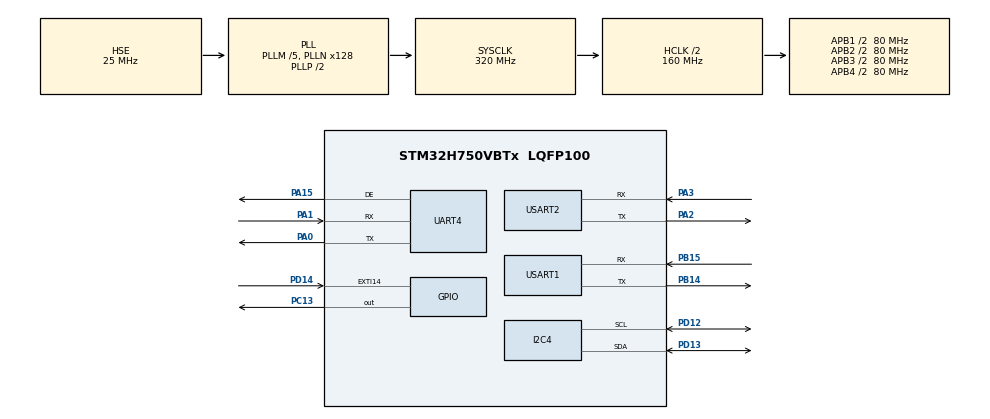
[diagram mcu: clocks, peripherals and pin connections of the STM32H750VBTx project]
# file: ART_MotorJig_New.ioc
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I2C4.Timing=0x10909CEC
Mcu.Family=STM32H7
Mcu.Name=STM32H750VBTx
Mcu.Package=LQFP100
NVIC.EXTI15_10_IRQn=true\:0\:0\:false\:false\:true\:true\:true
NVIC.PriorityGroup=NVIC_PRIORITYGROUP_4
NVIC.TIM7_IRQn=true\:0\:0\:false\:false\:true\:false\:true
NVIC.TimeBase=TIM7_IRQn
NVIC.TimeBaseIP=TIM7
NVIC.UART4_IRQn=true\:0\:0\:false\:false\:true\:true\:true
NVIC.USART1_IRQn=true\:0\:0\:false\:false\:true\:true\:true
NVIC.USART2_IRQn=true\:0\:0\:false\:false\:true\:true\:true
PA0.Mode=Asynchronous
PA0.Signal=UART4_TX
PA1.Mode=Asynchronous
PA1.Signal=UART4_RX
PA13\ (JTMS/SWDIO).Mode=Serial_Wire
PA13\ (JTMS/SWDIO).Signal=DEBUG_JTMS-SWDIO
PA14\ (JTCK/SWCLK).Mode=Serial_Wire
PA14\ (JTCK/SWCLK).Signal=DEBUG_JTCK-SWCLK
PA15\ (JTDI).Mode=Hardware Flow Control (RS485)
PA15\ (JTDI).Signal=UART4_DE
PA2.Mode=Asynchronous
PA2.Signal=USART2_TX
PA3.Mode=Asynchronous
PA3.Signal=USART2_RX
PB14.Mode=Asynchronous
PB14.Signal=USART1_TX
PB15.Mode=Asynchronous
PB15.Signal=USART1_RX
PC13.PinState=GPIO_PIN_RESET
PC13.Signal=GPIO_Output
PC14-OSC32_IN\ (OSC32_IN).Mode=LSE-External-Oscillator
PC14-OSC32_IN\ (OSC32_IN).Signal=RCC_OSC32_IN
PC15-OSC32_OUT\ (OSC32_OUT).Mode=LSE-External-Oscillator
PC15-OSC32_OUT\ (OSC32_OUT).Signal=RCC_OSC32_OUT
PD12.Mode=I2C
PD12.Signal=I2C4_SCL
PD13.Mode=I2C
PD13.Signal=I2C4_SDA
PD14.GPIO_ModeDefaultEXTI=GPIO_MODE_IT_FALLING
PD14.GPIO_PuPd=GPIO_PULLUP
PD14.Signal=GPXTI14
PH0-OSC_IN\ (PH0).Mode=HSE-External-Oscillator
PH0-OSC_IN\ (PH0).Signal=RCC_OSC_IN
PH1-OSC_OUT\ (PH1).Mode=HSE-External-Oscillator
PH1-OSC_OUT\ (PH1).Signal=RCC_OSC_OUT
ProjectManager.HeapSize=0x1200
ProjectManager.StackSize=0x1400
ProjectManager.TargetToolchain=STM32CubeIDE
RCC.ADCFreq_Value=50390625
RCC.APB1Freq_Value=80000000
RCC.APB2Freq_Value=80000000
RCC.APB3Freq_Value=80000000
RCC.APB4Freq_Value=80000000
RCC.CortexFreq_Value=320000000
RCC.D1PPRE=RCC_APB3_DIV2
RCC.D2PPRE1=RCC_APB1_DIV2
RCC.D2PPRE2=RCC_APB2_DIV2
RCC.D3PPRE=RCC_APB4_DIV2
RCC.DIVM1=5
RCC.DIVN1=128
RCC.HCLKFreq_Value=160000000
RCC.HPRE=RCC_HCLK_DIV2
RCC.PLL2FRACN=0
RCC.PLL3FRACN=0
RCC.PLLFRACN=0
RCC.PLLSourceVirtual=RCC_PLLSOURCE_HSE
RCC.SYSCLKFreq_VALUE=320000000
RCC.SYSCLKSource=RCC_SYSCLKSOURCE_PLLCLK
RCC.USBFreq_Value=320000000
USART1.VirtualMode-Asynchronous=VM_ASYNC
USART2.VirtualMode-Asynchronous=VM_ASYNC
VP_SYS_VS_tim7.Mode=TIM7
board=custom

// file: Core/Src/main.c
/* USER CODE BEGIN Header */
/**
  ******************************************************************************
  * @file           : main.c
  * @brief          : Main program body
  ******************************************************************************
  * @attention
  *
  * <h2><center>&copy; Copyright (c) 2021 STMicroelectronics.
  * All rights reserved.</center></h2>
  *
  * This software component is licensed by ST under BSD 3-Clause license,
  * the "License"; You may not use this file except in compliance with the
  * License. You may obtain a copy of the License at:
  *                        opensource.org/licenses/BSD-3-Clause
  *
  ******************************************************************************
  */
/* USER CODE END Header */
#include "main.h"

/* USER CODE BEGIN Includes */
#include "common.h"
#include "comm.h"
#include "modbus.h"
#include "EziStep.h"
#include "Vl53l1x.h"
#include "tmr.h"
/* USER CODE END Includes */

I2C_HandleTypeDef hi2c4;

UART_HandleTypeDef huart4;
UART_HandleTypeDef huart1;
UART_HandleTypeDef huart2;

void SystemClock_Config(void);
static void MX_GPIO_Init(void);
static void MX_UART4_Init(void);
static void MX_USART2_UART_Init(void);
static void MX_I2C4_Init(void);
static void MX_USART1_UART_Init(void);

/* USER CODE BEGIN 0 */
uint8_t Rx4Data;
uint8_t Rx2Data;

void HAL_UART_RxCpltCallback(UART_HandleTypeDef *huart)
{
	if(huart->Instance == USART2)
	{
		CommPutRxChar(&RingBuf_Modbus, Rx2Data);
		HAL_UART_Receive_IT(&huart2, &Rx2Data, sizeof(Rx2Data));
	}

	else if(huart->Instance == UART4)
	{
		CommPutRxChar(&RingBuf_EziStep, Rx4Data);
		HAL_UART_Receive_IT(&huart4, &Rx4Data, sizeof(Rx4Data));
	}

}

volatile int IntCount;
#define isInterrupt 1 /* If isInterrupt = 1 then device working in interrupt mode, else device working in polling mode */
void HAL_GPIO_EXTI_Callback(uint16_t GPIO_Pin)
{
		if (GPIO_Pin == GPIO_PIN_14)
		{
			IntCount++;

		}
}
/* USER CODE END 0 */

int main(void)
{
  /* USER CODE BEGIN 1 */
	uint8_t data_Modbus;
	uint8_t data_EziStep;

	//address, func, .....  hard coding for test
	uint8_t buf[] = { 0x01, 0x03, 0x4, 0x00, 0x03, 0x00, 0x04, 0xFF, 0xFF };
	uint8_t buf2[] = { 0xaa, 0xcc, 0x01, 0x01, 0x00, 0x14, 0x00 ,0x00, 0xaa, 0xee};

	uint16_t crc16_Modbus;
	uint16_t crc16_EziStep;

  /* USER CODE END 1 */

  /* MCU Configuration--------------------------------------------------------*/

  /* Reset of all peripherals, Initializes the Flash interface and the Systick. */
  HAL_Init();

  /* Configure the system clock */
  SystemClock_Config();

  /* Initialize all configured peripherals */
  MX_GPIO_Init();
  MX_UART4_Init();
  MX_USART2_UART_Init();
  MX_I2C4_Init();
  MX_USART1_UART_Init();
  /* USER CODE BEGIN 2 */
  CommInit(&RingBuf_Modbus);
  CommInit(&RingBuf_EziStep);

  ModbusInit(&Modbus, 0x01);
  EziStepInit(&EziStep,0x01);
  //VL53L1XInit();

  HAL_UART_Receive_IT(&huart2, &Rx2Data, sizeof(Rx2Data));
  HAL_UART_Receive_IT(&huart4, &Rx4Data, sizeof(Rx4Data));
  /* USER CODE END 2 */

  /* Infinite loop */
  /* USER CODE BEGIN WHILE */
  while (1)
  {
	  //VL53L1XProcessData();

	  if ( CommIsEmpty(&RingBuf_Modbus) == FALSE )
	  {
		  data_Modbus = CommGetRxChar(&RingBuf_Modbus);
		  //HAL_UART_Transmit(&huart4, &data, sizeof(data), 0xFFFFFFFF);
		  ModbusProcessData(&Modbus, data_Modbus);
	  }

	  if ( CommIsEmpty(&RingBuf_EziStep) == FALSE )
	  {
		  data_EziStep = CommGetRxChar(&RingBuf_EziStep);
		  //HAL_UART_Transmit(&huart4, &data, sizeof(data), 0xFFFFFFFF);
		  EziStepProcessData(&EziStep, data_EziStep);
	  }

	  if( Modbus.done == TRUE )
	  {
		  Modbus.done = FALSE;

		  crc16_Modbus = ModbusCrc16 (buf, 7);
		  buf[7] = (uint8_t)crc16_Modbus;
		  buf[8] = (uint8_t)(crc16_Modbus >> 8);
		  HAL_UART_Transmit(&huart2, buf, sizeof(buf), 0xFFFFFFFF);
//		  switch( Modbus.function ){
//		  case 0:
//		  case 1:
//		  case 2:
//		  }
	  }

	  if( EziStep.done == TRUE )
	  {
		  EziStep.done = FALSE;

		  crc16_EziStep = EziStepCalCRC16(&buf2[2], 4);
		  buf2[6]  = (uint8_t)crc16_EziStep;
		  buf2[7] = (uint8_t)(crc16_EziStep >> 8);
		  HAL_UART_Transmit(&huart4, buf2, sizeof(buf2), 0xFFFFFFFF);
//		  switch( Modbus.function ){
//		  case 0:
//		  case 1:
//		  case 2:
//		  }
	  }

    /* USER CODE END WHILE */

  }
}

void SystemClock_Config(void)
{
  RCC_OscInitTypeDef RCC_OscInitStruct = {0};
  RCC_ClkInitTypeDef RCC_ClkInitStruct = {0};
  RCC_PeriphCLKInitTypeDef PeriphClkInitStruct = {0};

  /** Supply configuration update enable
  */
  HAL_PWREx_ConfigSupply(PWR_LDO_SUPPLY);
  /** Configure the main internal regulator output voltage
  */
  __HAL_PWR_VOLTAGESCALING_CONFIG(PWR_REGULATOR_VOLTAGE_SCALE1);

  while(!__HAL_PWR_GET_FLAG(PWR_FLAG_VOSRDY)) {}
  /** Initializes the RCC Oscillators according to the specified parameters
  * in the RCC_OscInitTypeDef structure.
  */
  RCC_OscInitStruct.OscillatorType = RCC_OSCILLATORTYPE_HSE;
  RCC_OscInitStruct.HSEState = RCC_HSE_ON;
  RCC_OscInitStruct.PLL.PLLState = RCC_PLL_ON;
  RCC_OscInitStruct.PLL.PLLSource = RCC_PLLSOURCE_HSE;
  RCC_OscInitStruct.PLL.PLLM = 5;
  RCC_OscInitStruct.PLL.PLLN = 128;
  RCC_OscInitStruct.PLL.PLLP = 2;
  RCC_OscInitStruct.PLL.PLLQ = 2;
  RCC_OscInitStruct.PLL.PLLR = 2;
  RCC_OscInitStruct.PLL.PLLRGE = RCC_PLL1VCIRANGE_2;
  RCC_OscInitStruct.PLL.PLLVCOSEL = RCC_PLL1VCOWIDE;
  RCC_OscInitStruct.PLL.PLLFRACN = 0;
  if (HAL_RCC_OscConfig(&RCC_OscInitStruct) != HAL_OK)
  {
    Error_Handler();
  }
  /** Initializes the CPU, AHB and APB buses clocks
  */
  RCC_ClkInitStruct.ClockType = RCC_CLOCKTYPE_HCLK|RCC_CLOCKTYPE_SYSCLK
                              |RCC_CLOCKTYPE_PCLK1|RCC_CLOCKTYPE_PCLK2
                              |RCC_CLOCKTYPE_D3PCLK1|RCC_CLOCKTYPE_D1PCLK1;
  RCC_ClkInitStruct.SYSCLKSource = RCC_SYSCLKSOURCE_PLLCLK;
  RCC_ClkInitStruct.SYSCLKDivider = RCC_SYSCLK_DIV1;
  RCC_ClkInitStruct.AHBCLKDivider = RCC_HCLK_DIV2;
  RCC_ClkInitStruct.APB3CLKDivider = RCC_APB3_DIV2;
  RCC_ClkInitStruct.APB1CLKDivider = RCC_APB1_DIV2;
  RCC_ClkInitStruct.APB2CLKDivider = RCC_APB2_DIV2;
  RCC_ClkInitStruct.APB4CLKDivider = RCC_APB4_DIV2;

  if (HAL_RCC_ClockConfig(&RCC_ClkInitStruct, FLASH_LATENCY_2) != HAL_OK)
  {
    Error_Handler();
  }
  PeriphClkInitStruct.PeriphClockSelection = RCC_PERIPHCLK_USART2|RCC_PERIPHCLK_UART4
                              |RCC_PERIPHCLK_USART1|RCC_PERIPHCLK_I2C4;
  PeriphClkInitStruct.Usart234578ClockSelection = RCC_USART234578CLKSOURCE_D2PCLK1;
  PeriphClkInitStruct.Usart16ClockSelection = RCC_USART16CLKSOURCE_D2PCLK2;
  PeriphClkInitStruct.I2c4ClockSelection = RCC_I2C4CLKSOURCE_D3PCLK1;
  if (HAL_RCCEx_PeriphCLKConfig(&PeriphClkInitStruct) != HAL_OK)
  {
    Error_Handler();
  }
}

static void MX_I2C4_Init(void)
{

  hi2c4.Instance = I2C4;
  hi2c4.Init.Timing = 0x10909CEC;
  hi2c4.Init.OwnAddress1 = 0;
  hi2c4.Init.AddressingMode = I2C_ADDRESSINGMODE_7BIT;
  hi2c4.Init.DualAddressMode = I2C_DUALADDRESS_DISABLE;
  hi2c4.Init.OwnAddress2 = 0;
  hi2c4.Init.OwnAddress2Masks = I2C_OA2_NOMASK;
  hi2c4.Init.GeneralCallMode = I2C_GENERALCALL_DISABLE;
  hi2c4.Init.NoStretchMode = I2C_NOSTRETCH_DISABLE;
  if (HAL_I2C_Init(&hi2c4) != HAL_OK)
  {
    Error_Handler();
  }
  /** Configure Analogue filter
  */
  if (HAL_I2CEx_ConfigAnalogFilter(&hi2c4, I2C_ANALOGFILTER_ENABLE) != HAL_OK)
  {
    Error_Handler();
  }
  /** Configure Digital filter
  */
  if (HAL_I2CEx_ConfigDigitalFilter(&hi2c4, 0) != HAL_OK)
  {
    Error_Handler();
  }

}

static void MX_UART4_Init(void)
{

  huart4.Instance = UART4;
  huart4.Init.BaudRate = 115200;
  huart4.Init.WordLength = UART_WORDLENGTH_8B;
  huart4.Init.StopBits = UART_STOPBITS_1;
  huart4.Init.Parity = UART_PARITY_NONE;
  huart4.Init.Mode = UART_MODE_TX_RX;
  huart4.Init.HwFlowCtl = UART_HWCONTROL_NONE;
  huart4.Init.OverSampling = UART_OVERSAMPLING_16;
  huart4.Init.OneBitSampling = UART_ONE_BIT_SAMPLE_DISABLE;
  huart4.Init.ClockPrescaler = UART_PRESCALER_DIV1;
  huart4.AdvancedInit.AdvFeatureInit = UART_ADVFEATURE_NO_INIT;
  if (HAL_RS485Ex_Init(&huart4, UART_DE_POLARITY_HIGH, 0, 0) != HAL_OK)
  {
    Error_Handler();
  }
  if (HAL_UARTEx_SetTxFifoThreshold(&huart4, UART_TXFIFO_THRESHOLD_1_8) != HAL_OK)
  {
    Error_Handler();
  }
  if (HAL_UARTEx_SetRxFifoThreshold(&huart4, UART_RXFIFO_THRESHOLD_1_8) != HAL_OK)
  {
    Error_Handler();
  }
  if (HAL_UARTEx_DisableFifoMode(&huart4) != HAL_OK)
  {
    Error_Handler();
  }

}

static void MX_USART1_UART_Init(void)
{

  huart1.Instance = USART1;
  huart1.Init.BaudRate = 115200;
  huart1.Init.WordLength = UART_WORDLENGTH_8B;
  huart1.Init.StopBits = UART_STOPBITS_1;
  huart1.Init.Parity = UART_PARITY_NONE;
  huart1.Init.Mode = UART_MODE_TX_RX;
  huart1.Init.HwFlowCtl = UART_HWCONTROL_NONE;
  huart1.Init.OverSampling = UART_OVERSAMPLING_16;
  huart1.Init.OneBitSampling = UART_ONE_BIT_SAMPLE_DISABLE;
  huart1.Init.ClockPrescaler = UART_PRESCALER_DIV1;
  huart1.AdvancedInit.AdvFeatureInit = UART_ADVFEATURE_NO_INIT;
  if (HAL_UART_Init(&huart1) != HAL_OK)
  {
    Error_Handler();
  }
  if (HAL_UARTEx_SetTxFifoThreshold(&huart1, UART_TXFIFO_THRESHOLD_1_8) != HAL_OK)
  {
    Error_Handler();
  }
  if (HAL_UARTEx_SetRxFifoThreshold(&huart1, UART_RXFIFO_THRESHOLD_1_8) != HAL_OK)
  {
    Error_Handler();
  }
  if (HAL_UARTEx_DisableFifoMode(&huart1) != HAL_OK)
  {
    Error_Handler();
  }

}

static void MX_USART2_UART_Init(void)
{

  huart2.Instance = USART2;
  huart2.Init.BaudRate = 115200;
  huart2.Init.WordLength = UART_WORDLENGTH_8B;
  huart2.Init.StopBits = UART_STOPBITS_1;
  huart2.Init.Parity = UART_PARITY_NONE;
  huart2.Init.Mode = UART_MODE_TX_RX;
  huart2.Init.HwFlowCtl = UART_HWCONTROL_NONE;
  huart2.Init.OverSampling = UART_OVERSAMPLING_16;
  huart2.Init.OneBitSampling = UART_ONE_BIT_SAMPLE_DISABLE;
  huart2.Init.ClockPrescaler = UART_PRESCALER_DIV1;
  huart2.AdvancedInit.AdvFeatureInit = UART_ADVFEATURE_NO_INIT;
  if (HAL_UART_Init(&huart2) != HAL_OK)
  {
    Error_Handler();
  }
  if (HAL_UARTEx_SetTxFifoThreshold(&huart2, UART_TXFIFO_THRESHOLD_1_8) != HAL_OK)
  {
    Error_Handler();
  }
  if (HAL_UARTEx_SetRxFifoThreshold(&huart2, UART_RXFIFO_THRESHOLD_1_8) != HAL_OK)
  {
    Error_Handler();
  }
  if (HAL_UARTEx_DisableFifoMode(&huart2) != HAL_OK)
  {
    Error_Handler();
  }

}

static void MX_GPIO_Init(void)
{
  GPIO_InitTypeDef GPIO_InitStruct = {0};

  /* GPIO Ports Clock Enable */
  __HAL_RCC_GPIOC_CLK_ENABLE();
  __HAL_RCC_GPIOH_CLK_ENABLE();
  __HAL_RCC_GPIOA_CLK_ENABLE();
  __HAL_RCC_GPIOB_CLK_ENABLE();
  __HAL_RCC_GPIOD_CLK_ENABLE();

  /*Configure GPIO pin Output Level */
  HAL_GPIO_WritePin(GPIOC, GPIO_PIN_13, GPIO_PIN_RESET);

  /*Configure GPIO pin : PC13 */
  GPIO_InitStruct.Pin = GPIO_PIN_13;
  GPIO_InitStruct.Mode = GPIO_MODE_OUTPUT_PP;
  GPIO_InitStruct.Pull = GPIO_NOPULL;
  GPIO_InitStruct.Speed = GPIO_SPEED_FREQ_LOW;
  HAL_GPIO_Init(GPIOC, &GPIO_InitStruct);

  /*Configure GPIO pin : PD14 */
  GPIO_InitStruct.Pin = GPIO_PIN_14;
  GPIO_InitStruct.Mode = GPIO_MODE_IT_FALLING;
  GPIO_InitStruct.Pull = GPIO_PULLUP;
  HAL_GPIO_Init(GPIOD, &GPIO_InitStruct);

  /* EXTI interrupt init*/
  HAL_NVIC_SetPriority(EXTI15_10_IRQn, 0, 0);
  HAL_NVIC_EnableIRQ(EXTI15_10_IRQn);

}

 /**
  * @brief  Period elapsed callback in non blocking mode
  * @note   This function is called  when TIM7 interrupt took place, inside
  * HAL_TIM_IRQHandler(). It makes a direct call to HAL_IncTick() to increment
  * a global variable "uwTick" used as application time base.
  * @param  htim : TIM handle
  * @retval None
  */
void HAL_TIM_PeriodElapsedCallback(TIM_HandleTypeDef *htim)
{
  if (htim->Instance == TIM7) {
    HAL_IncTick();
  }
}

void Error_Handler(void)
{
  __disable_irq();
  while (1)
  {
  }
}

/************************ (C) COPYRIGHT STMicroelectronics *****END OF FILE****/
